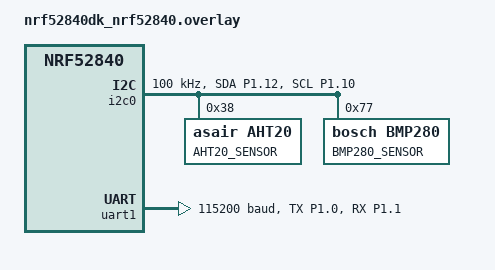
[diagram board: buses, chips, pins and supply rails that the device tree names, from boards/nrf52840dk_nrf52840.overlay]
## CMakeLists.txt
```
# SPDX-License-Identifier: Apache-2.0

cmake_minimum_required(VERSION 3.20.0)

find_package(Zephyr REQUIRED HINTS $ENV{ZEPHYR_BASE})

project(iot_demo)

FILE(GLOB devices_sources src/devices/src/*.c)
FILE(GLOB protocol_sources src/protocol/src/*.c)
FILE(GLOB communicate_sources src/communicate/src/*.c)

target_sources(app PRIVATE src/main.c ${devices_sources} ${protocol_sources} ${communicate_sources})

target_include_directories(app PRIVATE src src/devices/inc src/protocol/inc src/communicate/inc)
```

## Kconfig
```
mainmenu "IoT Server"

menu "Application configuration"

config OT_COAP_SAMPLE_SERVER
	bool "Build the sample CoAP server application"

config OT_COAP_SAMPLE_LED
	bool "Enable LED support"
	default y

config OT_COAP_SAMPLE_SW
	bool "Enable switch support"
	default y

config BT_CRS
	bool "Enable switch support"
	default n

config XXX_IMU
    bool "Enable AS201 IMU Support"
    default n
    help 
      This option enables the custom AS201 inertial measurement unit driver logic.

config LD2410C_DDRS
    bool "Enable LD2410C DDRS Support"
    default n
    help 
      This option enables the custom LD2410C Distance Detection Radar Sensor driver logic.

config AHT20_TS
    bool "Enable AHT20 TS Support"
    default n
    help 
      This option enables the custom AHT20 temperature sensor driver logic.

config BMP280_PS
    bool "Enable BMP280 Support"
    default n
    help 
      This option enables the custom BMP280 pressure sensor driver logic.

config OPEN_THREAD
    bool "Enable OPEN THREAD Support"
    default n
    help 
      This option enables the custom OPEN THREAD driver logic.

endmenu

source "Kconfig.zephyr"
```

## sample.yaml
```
sample:
  description: Test CoAP communication in Thread network
  name: OpenThread CoAP Client

tests:
  sample.openthread.coap_client.mtd.multiprotocol_ble:
    sysbuild: true
    build_only: true
    tags:
      - ci_build
      - sysbuild
      - ci_samples_openthread
    platform_allow:
      - nrf52840dk/nrf52840
      - nrf21540dk/nrf52840
      - nrf5340dk/nrf5340/cpuapp
      - nrf54lm20dk/nrf54lm20a/cpuapp
      - nrf54l15dk/nrf54l15/cpuapp
    extra_args:
      - coap_client_SNIPPET="ot-ci;ot-logging"
      - EXTRA_CONF_FILE="extra_conf/mtd.conf;extra_conf/multiprotocol_ble.conf;extra_conf/user_func.conf"
      - FILE_SUFFIX=ble
    integration_platforms:
      - nrf52840dk/nrf52840
      - nrf21540dk/nrf52840
      - nrf5340dk/nrf5340/cpuapp
      - nrf54lm20dk/nrf54lm20a/cpuapp
      - nrf54l15dk/nrf54l15/cpuapp
```

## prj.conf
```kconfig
CONFIG_PRINTK=y
CONFIG_LOG=y

# IPC
CONFIG_EVENTS=y 

# MEM
CONFIG_HEAP_MEM_POOL_SIZE=2048

# watchdog
CONFIG_WATCHDOG=y

# nRF board library
CONFIG_DK_LIBRARY=y

# Enable CoAP utils and CoAP protocol
CONFIG_COAP=y
CONFIG_COAP_UTILS=y

# Generic networking options
CONFIG_NETWORKING=y

# L2 OpenThread enabling
CONFIG_NET_L2_OPENTHREAD=y

# Network shell
CONFIG_SHELL=y
CONFIG_OPENTHREAD_SHELL=y
CONFIG_SHELL_ARGC_MAX=26
CONFIG_SHELL_CMD_BUFF_SIZE=416

# Increase Settings storage size
CONFIG_PM_PARTITION_SIZE_SETTINGS_STORAGE=0x8000

# Network sockets
CONFIG_NET_SOCKETS=y
CONFIG_ZVFS_POLL_MAX=4

# Same network Master Key for client and server
CONFIG_OPENTHREAD_NETWORKKEY="00:11:22:33:44:55:66:77:88:99:aa:bb:cc:dd:ee:ff"

CONFIG_MBEDTLS_SHA1_C=n
CONFIG_FPU=y

# Increase main stack size to meet networking requirements
CONFIG_MAIN_STACK_SIZE=4096

# Set product string for USB device
CONFIG_CDC_ACM_SERIAL_PRODUCT_STRING="OpenThread CoAP Client"
```

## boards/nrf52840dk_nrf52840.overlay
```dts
/* SPDX-License-Identifier: Apache-2.0 */

/ {
	zephyr,user {
		as201-imu-uart = <&iot_as201_imu_uart>;
	};
	
	// aliases {
	// 	sensor-device = &uart0;
	// };
};

&pinctrl {
	i2c0_default: i2c0_default {
		group1 {
			psels = <NRF_PSEL(TWIM_SDA, 1, 12)>,
				<NRF_PSEL(TWIM_SCL, 1, 10)>;
		};
	};

	i2c0_sleep: i2c0_sleep {
		group1 {
			psels = <NRF_PSEL(TWIM_SDA, 1, 12)>,
				<NRF_PSEL(TWIM_SCL, 1, 10)>;
			low-power-enable;
		};
	};

	as201_imu_uart_default: as201_imu_uart_default {
		group1 {
			psels = <NRF_PSEL(UART_TX, 1, 0)>,
				<NRF_PSEL(UART_RX, 1, 1)>;
		};
	};
};

&i2c0 {
	compatible = "nordic,nrf-twim";
	status = "okay";
	pinctrl-0 = <&i2c0_default>;
	pinctrl-1 = <&i2c0_sleep>;
	pinctrl-names = "default", "sleep";
	clock-frequency = <100000>;

	hrbo_sensor: hrbo_sensor@62 {
		compatible = "maxim,maxm86161";
		reg = <0x62>;
		label = "HRBO_SENSOR";
		status = "disabled";
	};

	aht20_sensor: aht20_sensor@38 {
		compatible = "asair,aht20";
		reg = <0x38>;
		label = "AHT20_SENSOR";
		status = "okay";
	};

	bmp280_sensor: bmp280_sensor@77 {
		compatible = "bosch,bmp280";
		reg = <0x77>;
		label = "BMP280_SENSOR";
		status = "okay";
	};
};

iot_as201_imu_uart: &uart1 {
	status = "okay";
	pinctrl-0 = <&as201_imu_uart_default>;
	current-speed = <115200>;
};

// &uart0 {

//     status = "okay";

// };
```

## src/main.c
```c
#include "main.h"

#include <zephyr/device.h>
#include <zephyr/kernel.h>
#include <zephyr/linker/linker-defs.h>
#include <zephyr/logging/log.h>
#include <zephyr/stats/stats.h>

#ifdef CONFIG_MCUMGR_GRP_FS
#include <zephyr/device.h>
#include <zephyr/fs/fs.h>
#include <zephyr/fs/littlefs.h>
#endif

#ifdef CONFIG_MCUMGR_GRP_STAT
#include <zephyr/mgmt/mcumgr/grp/stat_mgmt/stat_mgmt.h>
#endif

struct k_mutex i2c_mutex;

#ifdef CONFIG_MCUMGR_GRP_FS
#define STORAGE_PARTITION_LABEL storage_partition
#define STORAGE_PARTITION_ID FIXED_PARTITION_ID(STORAGE_PARTITION_LABEL)
FS_LITTLEFS_DECLARE_DEFAULT_CONFIG(cstorage);
static struct fs_mount_t littlefs_mnt = {
    .type = FS_LITTLEFS, .fs_data = &cstorage, .storage_dev = (void*)STORAGE_PARTITION_ID, .mnt_point = "/lfs1"};
#endif

#ifdef CONFIG_MCUMGR_GRP_STAT
/* Define an example stats group; approximates seconds since boot. */
STATS_SECT_START(smp_svr_stats)
STATS_SECT_ENTRY(ticks)
STATS_SECT_END;

/* Assign a name to the `ticks` stat. */
STATS_NAME_START(smp_svr_stats)
STATS_NAME(smp_svr_stats, ticks)
STATS_NAME_END(smp_svr_stats);

/* Define an instance of the stats group. */
STATS_SECT_DECL(smp_svr_stats) smp_svr_stats;
#endif

int main(void)
{
#ifdef CONFIG_MCUMGR_GRP_STAT
    int rc = STATS_INIT_AND_REG(smp_svr_stats, STATS_SIZE_32, "smp_svr_stats");
    if (rc < 0) {
        LOG_ERR("Error initializing stats system [%d]", rc);
    }
#endif

#ifdef CONFIG_MCUMGR_GRP_FS
    rc = fs_mount(&littlefs_mnt);
    if (rc < 0) {
        LOG_ERR("Error mounting littlefs [%d]", rc);
    }
#endif

    k_mutex_init(&i2c_mutex);


    while (1) {
        k_sleep(K_MSEC(10));
#ifdef CONFIG_MCUMGR_GRP_STAT
        STATS_INC(smp_svr_stats, ticks);
#endif
    }
    return 0;
}
```

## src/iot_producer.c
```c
#include <zephyr/kernel.h>
#include <zephyr/logging/log.h>

#include "main.h"

LOG_MODULE_REGISTER(iot_producer, CONFIG_IOT_PRODUCER_LOG_LEVEL);

typedef struct {
    uint16_t data_len;
    uint8_t data[];
} p_characteristic_data_t;

typedef struct {
    void* p_msg;
    uint32_t event;
    void* p_data;
} p_msg_t;

#define OT_CONNECTION_LED DK_LED1
#define BLE_CONNECTION_LED DK_LED2
#define MTD_SED_LED DK_LED3

#define COMMAND_REQUEST_UNICAST 'u'
#define COMMAND_REQUEST_MULTICAST 'm'
#define COMMAND_REQUEST_PROVISIONING 'p'

#define MSG_QUEUE_SIZE (100)
K_MSGQ_DEFINE(g_msg_queue, sizeof(p_msg_t*), MSG_QUEUE_SIZE, 4);
K_EVENT_DEFINE(g_event_group);

static void on_nus_received(struct bt_conn* conn, const uint8_t* const data, uint16_t len)
{
    LOG_INF("Received data: %c", data[0]);

    switch (*data) {
    case COMMAND_REQUEST_UNICAST:
        coap_client_toggle_one_light();
        break;

    case COMMAND_REQUEST_MULTICAST:
        coap_client_toggle_mesh_lights();
        break;

    case COMMAND_REQUEST_PROVISIONING:
        coap_client_send_provisioning_request();
        break;

    default:
        LOG_WRN("Received invalid data from NUS");
    }
}

static void on_nus_sent(struct bt_conn* conn) {}

static void on_ble_connect(struct k_work* item)
{
    ARG_UNUSED(item);

    dk_set_led_on(BLE_CONNECTION_LED);
}

static void on_ble_disconnect(struct k_work* item)
{
    ARG_UNUSED(item);

    dk_set_led_off(BLE_CONNECTION_LED);
    disconnect_option();
}

static void on_ot_connect(struct k_work* item)
{
    ARG_UNUSED(item);

    dk_set_led_on(OT_CONNECTION_LED);
}

static void on_ot_disconnect(struct k_work* item)
{
    ARG_UNUSED(item);

    dk_set_led_off(OT_CONNECTION_LED);
}

void create_event_payload(uint8_t* data, uint16_t len, uint32_t event)
{
    p_msg_t* g_msg = (p_msg_t*)k_malloc(sizeof(p_msg_t));
    p_characteristic_data_t* g_data = (p_characteristic_data_t*)k_malloc(sizeof(p_characteristic_data_t) + len);
    if (g_msg == NULL || g_data == NULL) {
        k_free(g_msg);
        k_free(g_data);
        LOG_ERR("Memory allocation failed!");
        return;
    }

    g_data->data_len = len;
    memcpy(g_data->data, data, len);

    g_msg->event = event;
    g_msg->p_data = g_data;
    g_msg->p_msg = g_msg;

    if (k_msgq_put(&g_msg_queue, &g_msg, K_NO_WAIT) != 0) {
        k_free(g_data);
        k_free(g_msg);
        LOG_WRN("Queue full, dropping packet");
    } else
        k_event_post(&g_event_group, event);
}

static void project_zero_process_application_message(void)
{
    p_msg_t* rev_msg = NULL;
    static uint8_t tx_buf[109] = {0};
    uint16_t buf_len = 0;

    if (k_msgq_get(&g_msg_queue, &rev_msg, K_FOREVER) == 0) {
        if (rev_msg != NULL) {
            p_characteristic_data_t* rev_data = (p_characteristic_data_t*)rev_msg->p_data;

            switch (rev_msg->event) {
#ifdef CONFIG_HRBO
            case HRBO_EVENT:
                tx_buf[0] = 0x55;
                tx_buf[1] = 0xaa;
                buf_len = sizeof(tx_buf) - 4;
                tx_buf[2] = buf_len >> 8;
                tx_buf[3] = (uint8_t)buf_len;

                for (uint16_t i = 0; i < rev_data->data_len; i++) {
                    tx_buf[8 + i] = rev_data->data[i];
                }

                tx_buf[108] = 0xa5;
#ifdef CONFIG_BT_CRS
                crs_notify(tx_buf, sizeof(tx_buf));
#endif
                break;
#endif

#ifdef CONFIG_AHT20_TS
            case AHT20_TS_EVENT:
                tx_buf[4] = rev_data->data[0];
                tx_buf[5] = rev_data->data[1];
                break;
#endif

#ifdef CONFIG_BMP280_PS
            case BMP280_PS_EVENT:
                tx_buf[6] = rev_data->data[0];
                tx_buf[7] = rev_data->data[1];
                break;
#endif

                // #ifdef CONFIG_AS201_IMU
                //             case AS201_IMU_EVENT:
                //                 for (uint16_t i = 0; i < rev_data->data_len; i++) {
                //                     tx_buf[8 + i] = rev_data->data[i];
                //                 }
                //                 break;
                // #endif

            default:
                break;
            }

            if (rev_msg->p_data != NULL) {
                k_free(rev_msg->p_data);
            }

            k_free(rev_msg);
        }
    }
}

static void producer_thread(void* rec, void* p2, void* p3)
{
    int ret;

    /** status led */
    ret = dk_leds_init();
    if (ret) {
        LOG_ERR("Cannot init leds, (error: %d)", ret);
        return 0;
    }

    /** ble work */
    struct bt_nus_cb nus_clbs = {
        .received = on_nus_received,
        .sent = on_nus_sent,
    };
    ret = ble_utils_init(&nus_clbs, on_ble_connect, on_ble_disconnect);
    if (ret) {
        LOG_ERR("Cannot init BLE utilities");
        return 0;
    }

    /** coap work */
    coap_client_utils_init(on_ot_connect, on_ot_disconnect, on_mtd_mode_toggle);

    for (;;) {
        uint32_t event_bits = k_event_wait(&g_event_group,
                                           0
#ifdef CONFIG_AHT20_TS
                                               | AHT20_TS_EVENT
#endif

#ifdef CONFIG_BMP280_PS
                                               | BMP280_PS_EVENT
#endif

#ifdef CONFIG_LD2410C_DDRS
                                               | LD2410C_DDRS_EVENT
#endif

                                           ,
                                           true, K_FOREVER);
        if (event_bits != 0) {
            while (k_msgq_num_used_get(&g_msg_queue) > 0) {
                project_zero_process_application_message();
            }
        }
    }
}

K_THREAD_DEFINE(producer_thread_id, 4096, producer_thread, NULL, NULL, NULL, PRODUCER_PRIORITY, 0, 0);
```

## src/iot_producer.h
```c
#ifndef __IOT_PRODUCER_H__
#define __IOT_PRODUCER_H__

#include <stdint.h>
void create_event_payload(uint8_t* data, uint16_t len, uint32_t event);

#endif
```

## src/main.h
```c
#ifndef __MAIN_H__
#define __MAIN_H__

enum {
#ifdef CONFIG_AHT20_TS
    AHT20_TS_EVENT_NUM,
#endif

#ifdef CONFIG_BMP280_PS
    BMP280_PS_EVENT_NUM,
#endif

#ifdef CONFIG_LD2410C_DDRS
    LD2410C_DDRS_EVENT_NUM,
#endif
    MAX_EVENT_NUM
};
#include <zephyr/kernel.h>

#include "iot_producer.h"
#include "protocol/inc/iot_ble.h"
#define BLE_PRIORITY (5)

#include "protocol/inc/iot_coap_utils.h"
#define OPENTHREAD_PRIORITY (5)

#include "devices/inc/iot_button.h"
#include "devices/inc/iot_led.h"

#ifdef CONFIG_AHT20_TS
#include "devices/inc/iot_aht20_ts.h"
#define AHT20_TS_EVENT (1 << AHT20_TS_EVENT_NUM)
#define AHT20_TS_PRIORITY (5)
#endif

#ifdef CONFIG_BMP280_PS
#include "devices/inc/iot_bmp280_ps.h"
#define BMP280_PS_EVENT (1 << BMP280_PS_EVENT_NUM)
#define BMP280_PS_PRIORITY (5)
#endif

#ifdef CONFIG_LD2410C_DDRS
#include "devices/inc/iot_ld2410c_ddrs.h"
#define LD2410C_DDRS_EVENT (1 << LD2410C_DDRS_EVENT_NUM)
#define LD2410C_DDRS_PRIORITY (6)
#endif

#define PRODUCER_PRIORITY (4)

extern struct k_mutex i2c_mutex;

#endif
```
